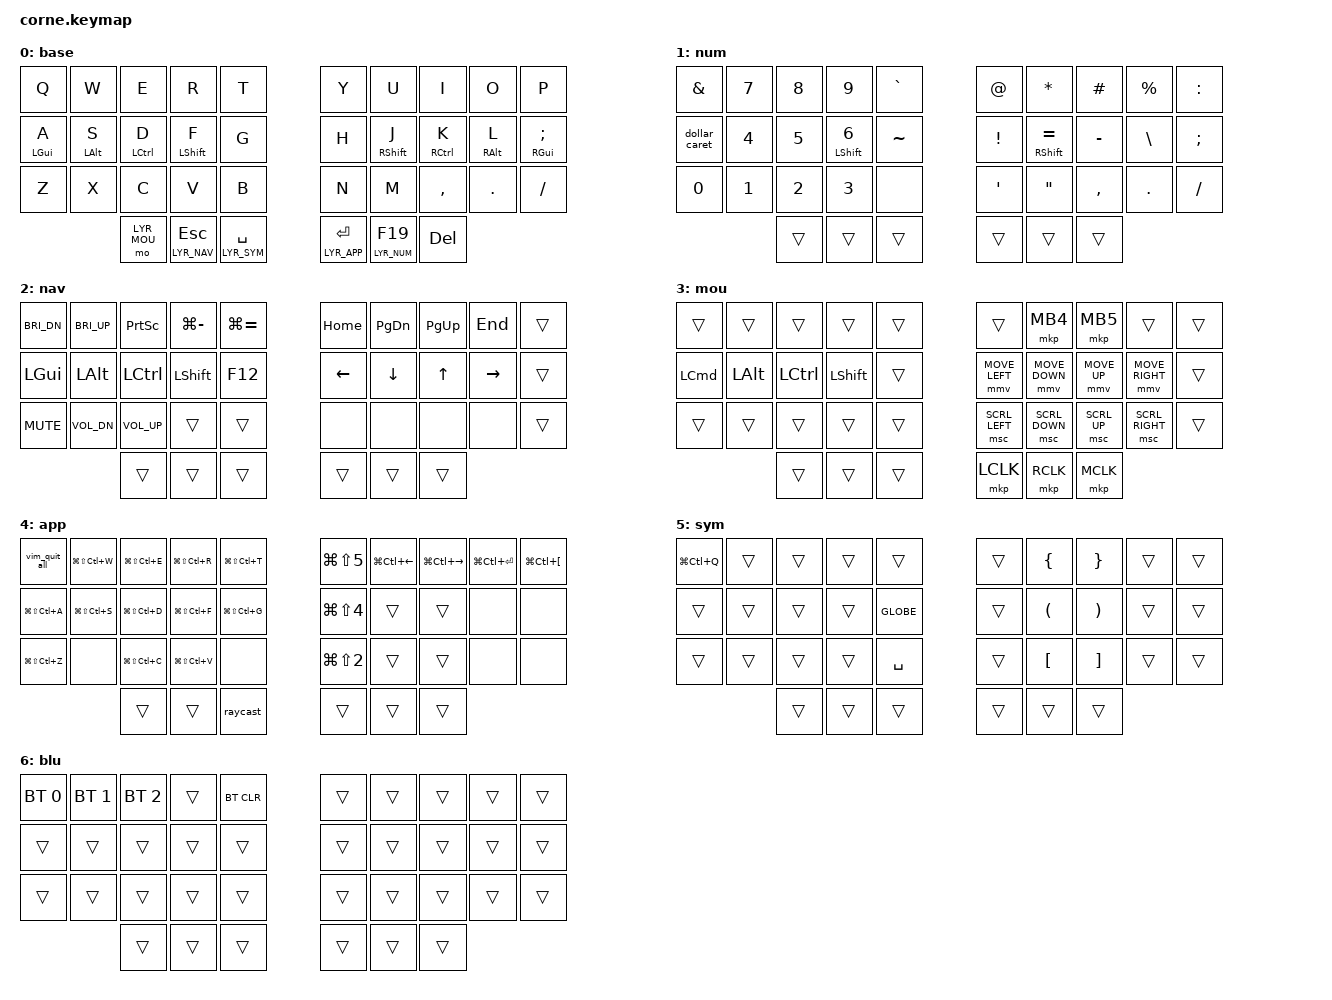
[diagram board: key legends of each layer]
/*
 * Copyright (c) 2020 The ZMK Contributors
 *
 * SPDX-License-Identifier: MIT
 */

#include <behaviors.dtsi>
#include <dt-bindings/zmk/keys.h>
#include <dt-bindings/zmk/bt.h>
#include <dt-bindings/zmk/pointing.h>

/*
 Key position definitions
    0  1  2  3  4     5  6  7  8  9
   10 11 12 13 14    15 16 17 18 19
   20 21 22 23 24    25 26 27 28 29
         30 31 32    33 34 35

    Q  W  E  R  T     Y  U  I  O  P
    A  S  D  F  G     H  J  K  L  ;
    Z  X  C  V  B     N  M  ,  .  /
         LT1 LT2 LT3 RT1 RT2 RT3
*/
#define POS_Q  0
#define POS_W  1
#define POS_E  2
#define POS_R  3
#define POS_T  4
#define POS_Y  5
#define POS_U  6
#define POS_I  7
#define POS_O  8
#define POS_P  9
#define POS_A  10
#define POS_S  11
#define POS_D  12
#define POS_F  13
#define POS_G  14
#define POS_H  15
#define POS_J  16
#define POS_K  17
#define POS_L  18
#define POS_SEMI 19
#define POS_Z  20
#define POS_X  21
#define POS_C  22
#define POS_V  23
#define POS_B  24
#define POS_N  25
#define POS_M  26
#define POS_COMMA 27
#define POS_DOT 28
#define POS_FSLH 29
#define POS_LT1 30
#define POS_LT2 31
#define POS_LT3 32
#define POS_RT1 33
#define POS_RT2 34
#define POS_RT3 35

// Layer definitions
#define LYR_BASE 0
#define LYR_NUM  1
#define LYR_NAV  2
#define LYR_MOU  3
#define LYR_APP  4
#define LYR_SYM  5
#define LYR_BLU  6


#define COMBO_TIMEOUT_DEFAULT 50
#define COMBO_TIMEOUT_MEDIUM 75
#define COMBO_TIMEOUT_LONG 125

/ {
    chosen {
        zmk,physical-layout = &foostan_corne_5col_layout;
    };

    macros {
        vim_quit: vim_quit {
            compatible = "zmk,behavior-macro";
            #binding-cells = <0>;
            bindings = <&kp COLON &kp Q &kp EXCL>;
        };
        vim_quit_all: vim_quit_all {
            compatible = "zmk,behavior-macro";
            #binding-cells = <0>;
            bindings = <&kp COLON &kp Q &kp A>;
        };
        raycast: raycast {
            compatible = "zmk,behavior-macro";
            #binding-cells = <0>;
            bindings = <&kp LG(SPACE)>;
        };
    };

    behaviors {
        hml: home_row_mod_left {
            compatible = "zmk,behavior-hold-tap";
            #binding-cells = <2>;
            flavor = "balanced";
            require-prior-idle-ms = <150>;
            tapping-term-ms = <280>;
            quick-tap-ms = <175>;
            bindings = <&kp>, <&kp>;
            hold-trigger-key-positions = <POS_Y POS_U POS_I POS_O POS_P POS_H POS_J POS_K POS_L POS_SEMI POS_N POS_M POS_COMMA POS_DOT POS_FSLH POS_RT1 POS_RT2 POS_RT3>;
            hold-trigger-on-release;
        };
        hmr: home_row_mod_right {
            compatible = "zmk,behavior-hold-tap";
            #binding-cells = <2>;
            flavor = "balanced";
            require-prior-idle-ms = <150>;
            tapping-term-ms = <280>;
            quick-tap-ms = <175>;
            bindings = <&kp>, <&kp>;
            hold-trigger-key-positions = <POS_Q POS_W POS_E POS_R POS_T POS_A POS_S POS_D POS_F POS_G POS_Z POS_X POS_C POS_V POS_B POS_LT1 POS_LT2 POS_LT3>;
            hold-trigger-on-release;
        };
        ltl: layer_tap_long {
            compatible = "zmk,behavior-hold-tap";
            #binding-cells = <2>;
            flavor = "balanced";
            tapping-term-ms = <350>;
            bindings = <&mo>, <&kp>;
            display-name = "Layer-Tap Long";
        };
        dollar_caret: dollar_caret {
            compatible = "zmk,behavior-mod-morph";
            #binding-cells = <0>;
            bindings = <&kp DOLLAR>, <&kp CARET>;
            mods = <(MOD_LSFT|MOD_RSFT)>;
        };
    };

    keymap {
        compatible = "zmk,keymap";

        default_layer {
            display-name = "base";

            // -----------------------------------------------------------------------------------------
            // |  Q  |  W  |  E  |  R  |  T  |   |  Y  |  U   |  I  |  O  |  P  |
            // |  A  |  S  |  D  |  F  |  G  |   |  H  |  J   |  K  |  L  |  ;  |
            // |  Z  |  X  |  C  |  V  |  B  |   |  N  |  M   |  ,  |  .  |  /  |
            //             | MOU | NAV | SPC |   | APP | NUM  | DEL |

            bindings = <
&kp Q              &kp W              &kp E              &kp R                 &kp T                 /**/        &kp Y                &kp U                 &kp I              &kp O              &kp P
&hml LGUI A        &hml LALT S        &hml LCTRL D       &hml LSHFT F          &kp G                 /**/        &kp H                &hmr RSHFT J          &hmr RCTRL K       &hmr RALT L        &hmr RGUI SEMI
&kp Z              &kp X              &kp C              &kp V                 &kp B                 /**/        &kp N                &kp M                 &kp COMMA          &kp DOT            &kp FSLH
                                      &mo LYR_MOU        &lt LYR_NAV ESCAPE    &ltl LYR_SYM SPACE    /**/        &ltl LYR_APP RET     &lt LYR_NUM F19       &kp DEL
            >;
        };

        num {
            display-name = "num";

            bindings = <
&kp AMPERSAND      &kp N7             &kp N8             &kp N9                &kp GRAVE             /**/        &kp AT               &kp ASTERISK          &kp HASH           &kp PERCENT        &kp COLON
&dollar_caret      &kp N4             &kp N5             &hml LSHFT N6         &kp TILDE             /**/        &kp EXCL             &mt RSHFT EQUAL       &kp MINUS          &kp BSLH           &kp SEMICOLON
&kp N0             &kp N1             &kp N2             &kp N3                &none                 /**/        &kp SQT              &kp DQT               &kp COMMA          &kp DOT            &kp FSLH
                                      &trans             &trans                &trans                /**/        &trans               &trans                &trans
            >;
        };

        nav {
            bindings = <
&kp C_BRI_DN       &kp C_BRI_UP       &kp PSCRN          &kp LG(MINUS)         &kp LG(EQUAL)         /**/        &kp HOME             &kp PAGE_DOWN         &kp PAGE_UP      &kp END            &trans
&kp LGUI           &kp LEFT_ALT       &kp LCTRL          &kp LSHFT             &kp F12               /**/        &kp LEFT_ARROW       &kp DOWN_ARROW        &kp UP_ARROW       &kp RIGHT          &trans
&kp C_MUTE         &kp C_VOL_DN       &kp C_VOL_UP       &trans                &trans                /**/        &none                &none                 &none              &none              &trans
                                      &trans             &trans                &trans                /**/        &trans               &trans                &trans
            >;

            label = "nav";
        };

        mou {
            bindings = <
&trans             &trans             &trans             &trans                &trans                /**/        &trans               &mkp MB4              &mkp MB5           &trans             &trans
&kp LCMD           &kp LEFT_ALT       &kp LCTRL          &kp LSHFT             &trans                /**/        &mmv MOVE_LEFT       &mmv MOVE_DOWN        &mmv MOVE_UP       &mmv MOVE_RIGHT    &trans
&trans             &trans             &trans             &trans                &trans                /**/        &msc SCRL_LEFT       &msc SCRL_DOWN        &msc SCRL_UP       &msc SCRL_RIGHT    &trans
                                      &trans             &trans                &trans                /**/        &mkp LCLK            &mkp RCLK             &mkp MCLK
            >;

            label = "mou";
        };

        app {
            display-name = "app";

            bindings = <
&vim_quit_all      &kp LG(LS(LC(W)))  &kp LG(LS(LC(E)))  &kp LG(LS(LC(R)))     &kp LG(LS(LC(T)))     /**/        &kp LG(LS(N5))       &kp LG(LC(LEFT))      &kp LG(LC(RIGHT))  &kp LG(LC(RET))    &kp LG(LC(LBKT))
&kp LG(LS(LC(A)))  &kp LG(LS(LC(S)))  &kp LG(LS(LC(D)))  &kp LG(LS(LC(F)))     &kp LG(LS(LC(G)))     /**/        &kp LG(LS(N4))       &trans                &trans             &none              &none
&kp LG(LS(LC(Z)))  &none              &kp LG(LS(LC(C)))  &kp LG(LS(LC(V)))     &none                 /**/        &kp LG(LS(N2))       &trans                &trans             &none              &none
                                      &trans             &trans                &raycast              /**/        &trans               &trans                &trans
            >;

            label = "app";
        };

        sym {
            bindings = <
&kp LG(LC(Q))      &trans             &trans             &trans                &trans                /**/        &trans               &kp LBRC              &kp RBRC           &trans             &trans
&trans             &trans             &trans             &trans                &kp GLOBE                /**/        &trans               &kp LPAR              &kp RPAR           &trans             &trans
&trans             &trans             &trans             &trans                &kp SPACE                /**/        &trans               &kp LBKT              &kp RBKT           &trans             &trans
                                      &trans             &trans                &trans                /**/        &trans               &trans                &trans
            >;

            label = "sym";
        };

        blu {
            bindings = <
&bt BT_SEL 0       &bt BT_SEL 1       &bt BT_SEL 2       &trans                &bt BT_CLR            /**/        &trans               &trans                &trans             &trans             &trans
&trans             &trans             &trans             &trans                &trans                /**/        &trans               &trans                &trans             &trans             &trans
&trans             &trans             &trans             &trans                &trans                /**/        &trans               &trans                &trans             &trans             &trans
                                      &trans             &trans                &trans                /**/        &trans               &trans                &trans
            >;

            label = "blu";
        };
    };

    combos {
        compatible = "zmk,combos";

        combo_bluetooth {
            timeout-ms = <COMBO_TIMEOUT_MEDIUM>;
            key-positions = <POS_X POS_C POS_V>;
            bindings = <&mo LYR_BLU>;
        };

        combo_backspace {
            timeout-ms = <COMBO_TIMEOUT_MEDIUM>;
            key-positions = <POS_K POS_L>;
            bindings = <&kp BACKSPACE>;
        };

        combo_tab {
            timeout-ms = <COMBO_TIMEOUT_MEDIUM>;
            key-positions = <POS_S POS_D>;
            bindings = <&kp TAB>;
            layers = <LYR_BASE>;
        };

        combo_copy {
            timeout-ms = <COMBO_TIMEOUT_MEDIUM>;
            key-positions = <POS_X POS_C>;
            bindings = <&kp LG(C)>;
            layers = <LYR_BASE>;
        };

        combo_paste {
            timeout-ms = <COMBO_TIMEOUT_MEDIUM>;
            key-positions = <POS_C POS_V>;
            bindings = <&kp LG(V)>;
            layers = <LYR_BASE>;
        };

        combo_clipboard_history {
            timeout-ms = <COMBO_TIMEOUT_MEDIUM>;
            key-positions = <POS_D POS_F>;
            bindings = <&kp LG(LS(V))>;
            layers = <LYR_BASE>;
        };

        combo_vim_quit {
            timeout-ms = <COMBO_TIMEOUT_MEDIUM>;
            key-positions = <POS_Q POS_W>;
            bindings = <&vim_quit>;
            layers = <LYR_BASE>;
        };

        combo_num_ctrl {
            timeout-ms = <COMBO_TIMEOUT_MEDIUM>;
            key-positions = <POS_A POS_S>;
            bindings = <&kp LCTRL>;
            layers = <LYR_NUM>;
        };

        combo_num_backspace {
            timeout-ms = <COMBO_TIMEOUT_MEDIUM>;
            key-positions = <POS_K POS_L>;
            bindings = <&kp BACKSPACE>;
            layers = <LYR_NUM>;
        };

        combo_nav_copy_url {
            timeout-ms = <COMBO_TIMEOUT_MEDIUM>;
            key-positions = <POS_X POS_C>;
            bindings = <&kp LG(LS(C))>;
            layers = <LYR_NUM>;
        };

        combo_caps_word {
            timeout-ms = <COMBO_TIMEOUT_MEDIUM>;
            key-positions = <POS_M POS_COMMA>;
            bindings = <&caps_word>;
            layers = <LYR_BASE>;
        };

        combo_caps_lock {
            timeout-ms = <COMBO_TIMEOUT_MEDIUM>;
            key-positions = <POS_COMMA POS_DOT>;
            bindings = <&kp CAPSLOCK>;
            layers = <LYR_BASE>;
        };

        // Sending Ctrl + Shift to switch input languages
        combo_lang_switch {
            timeout-ms = <COMBO_TIMEOUT_MEDIUM>;
            key-positions = <POS_U POS_I>;
            bindings = <&kp LC(LSHFT)>;
            layers = <LYR_BASE>;
        };

        // App layer: Cmd + Tab to switch between apps
        combo_app_switch {
            timeout-ms = <COMBO_TIMEOUT_MEDIUM>;
            key-positions = <POS_S POS_D>;
            bindings = <&kp LG(TAB)>;
            layers = <LYR_APP>;
        };

        // App layer: Cmd + ` to switch between windows
        combo_window_switch {
            timeout-ms = <COMBO_TIMEOUT_MEDIUM>;
            key-positions = <POS_D POS_F>;
            bindings = <&kp LG(GRAVE)>;
            layers = <LYR_APP>;
        };
    };
};
